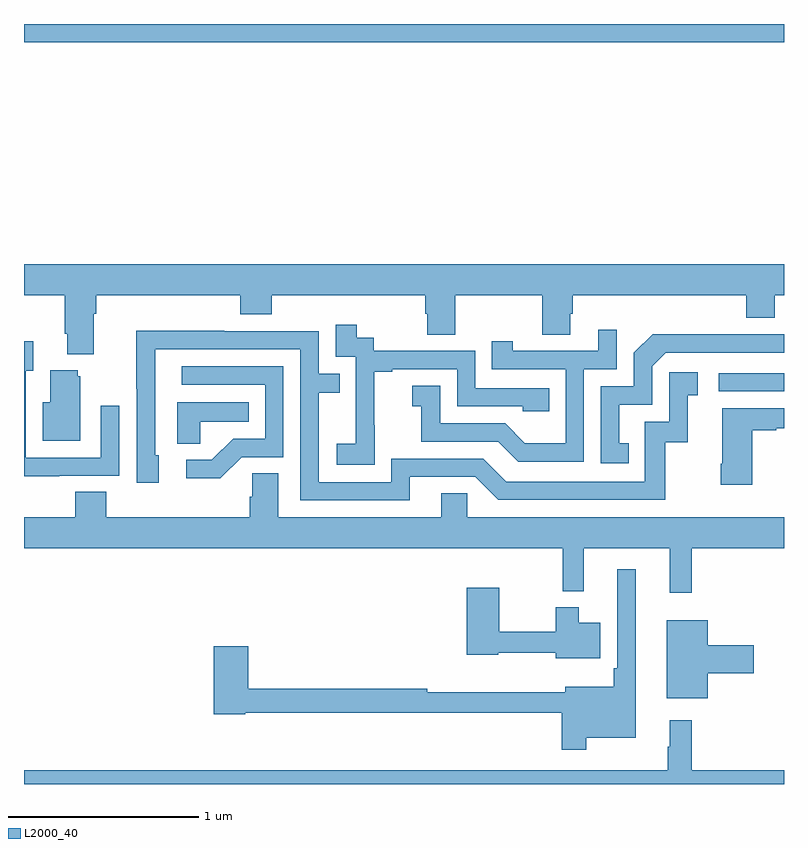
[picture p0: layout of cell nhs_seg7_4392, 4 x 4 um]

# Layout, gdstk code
import gdstk
lib = gdstk.Library(unit=1e-6, precision=1e-09)
def R(c, l, rs):  # rectangles x0, y0, x1, y1
    for r in rs: c.add(gdstk.rectangle(r[:2], r[2:], *l))
def P(c, l, *ps):  # polygons
    for p in ps: c.add(gdstk.Polygon(p, *l))
L2000_40 = (2000, 40)

nhs_seg7_4392 = lib.new_cell('nhs_seg7_4392')
R(nhs_seg7_4392, L2000_40, [(390.657,1044.066,391,1044.162), (387,1045.904,391,1046)])
P(nhs_seg7_4392, L2000_40, [(387.367,1044.476),(387.38,1044.476),(387.38,1044.572),(388.139,1044.572),(388.139,1044.473),(388.304,1044.473),(388.304,1044.572),(389.111,1044.572),(389.111,1044.474),(389.123,1044.474),(389.123,1044.364),(389.271,1044.364),(389.271,1044.572),(389.728,1044.572),(389.728,1044.364),(389.875,1044.364),(389.875,1044.474),(389.888,1044.474),(389.888,1044.572),(390.8,1044.572),(390.8,1044.455),(390.952,1044.455),(390.952,1044.572),(391,1044.572),(391,1044.736),(387,1044.736),(387,1044.572),(387.215,1044.572),(387.215,1044.37),(387.227,1044.37),(387.227,1044.263),(387.367,1044.263)],
  [(388.845,1043.887),(388.844,1043.887),(388.844,1044.171),(388.939,1044.171),(388.939,1044.183),(389.28,1044.183),(389.28,1043.988),(389.625,1043.988),(389.625,1043.961),(389.765,1043.961),(389.765,1044.084),(389.376,1044.084),(389.376,1044.279),(388.842,1044.279),(388.842,1044.348),(388.75,1044.348),(388.75,1044.418),(388.641,1044.418),(388.641,1044.249),(388.746,1044.249),(388.746,1044.02),(388.745,1044.02),(388.745,1043.791),(388.647,1043.791),(388.647,1043.681),(388.845,1043.681)],
  [(389.946,1044.183),(390.12,1044.183),(390.12,1044.391),(390.023,1044.391),(390.023,1044.279),(389.572,1044.279),(389.572,1044.331),(389.461,1044.331),(389.461,1044.183),(389.85,1044.183),(389.85,1043.794),(389.636,1043.794),(389.532,1043.898),(389.19,1043.898),(389.19,1044.097),(389.043,1044.097),(389.043,1043.987),(389.092,1043.987),(389.092,1043.802),(389.495,1043.802),(389.6,1043.697),(389.946,1043.697)],
  [(389.029,1043.616),(389.376,1043.616),(389.496,1043.496),(390.376,1043.496),(390.376,1043.799),(390.494,1043.799),(390.494,1044.045),(390.547,1044.045),(390.547,1044.166),(390.396,1044.166),(390.396,1043.907),(390.267,1043.907),(390.267,1043.592),(389.538,1043.592),(389.418,1043.712),(388.932,1043.712),(388.932,1043.589),(388.551,1043.589),(388.551,1044.058),(388.661,1044.058),(388.661,1044.159),(388.551,1044.159),(388.551,1044.384),(388.055,1044.384),(388.055,1044.386),(387.592,1044.386),(387.592,1044.079),(387.594,1044.079),(387.594,1043.586),(387.709,1043.586),(387.709,1043.73),(387.69,1043.73),(387.69,1044.288),(388.455,1044.288),(388.455,1043.493),(389.029,1043.493)],
  [(390.182,1043.793),(390.133,1043.793),(390.133,1043.997),(390.306,1043.997),(390.306,1044.198),(390.378,1044.27),(391,1044.27),(391,1044.366),(390.716,1044.366),(390.716,1044.368),(390.308,1044.368),(390.21,1044.27),(390.21,1044.093),(390.036,1044.093),(390.036,1043.688),(390.182,1043.688)],
  [(387.185,1043.622),(387.501,1043.622),(387.501,1043.992),(387.405,1043.992),(387.405,1043.718),(387.009,1043.718),(387.009,1044.175),(387.049,1044.175),(387.049,1044.331),(387,1044.331),(387,1043.621),(387.185,1043.621)],
  [(388.146,1043.721),(388.365,1043.721),(388.365,1044.198),(387.831,1044.198),(387.831,1044.102),(388.269,1044.102),(388.269,1043.817),(388.1,1043.817),(387.989,1043.706),(387.855,1043.706),(387.855,1043.609),(388.033,1043.609)],
  [(387.295,1044.147),(387.284,1044.147),(387.284,1044.178),(387.137,1044.178),(387.137,1044.01),(387.098,1044.01),(387.098,1043.807),(387.295,1043.807)],
  [(387.927,1043.906),(388.184,1043.906),(388.184,1044.01),(387.806,1044.01),(387.806,1043.791),(387.927,1043.791)],
  [(390.832,1043.863),(390.959,1043.863),(390.959,1043.873),(391,1043.873),(391,1043.977),(390.674,1043.977),(390.674,1043.686),(390.667,1043.686),(390.667,1043.574),(390.832,1043.574)],
  [(389.835,1043.015),(389.945,1043.015),(389.945,1043.24),(390.398,1043.24),(390.398,1043.007),(390.515,1043.007),(390.515,1043.24),(391,1043.24),(391,1043.404),(389.334,1043.404),(389.334,1043.531),(389.195,1043.531),(389.195,1043.404),(388.339,1043.404),(388.339,1043.636),(388.2,1043.636),(388.2,1043.513),(388.187,1043.513),(388.187,1043.404),(387.434,1043.404),(387.434,1043.537),(387.269,1043.537),(387.269,1043.404),(387,1043.404),(387,1043.24),(389.835,1043.24)],
  [(389.959,1042.244),(390.22,1042.244),(390.22,1043.131),(390.123,1043.131),(390.123,1042.609),(390.103,1042.609),(390.103,1042.513),(389.849,1042.513),(389.849,1042.484),(389.123,1042.484),(389.123,1042.502),(388.181,1042.502),(388.181,1042.726),(387.998,1042.726),(387.998,1042.366),(388.164,1042.366),(388.164,1042.374),(389.83,1042.374),(389.83,1042.179),(389.959,1042.179)],
  [(390.034,1042.849),(389.92,1042.849),(389.92,1042.93),(389.798,1042.93),(389.798,1042.801),(389.5,1042.801),(389.5,1043.032),(389.33,1043.032),(389.33,1042.679),(389.496,1042.679),(389.496,1042.691),(389.798,1042.691),(389.798,1042.661),(390.034,1042.661)],
  [(390.598,1042.583),(390.841,1042.583),(390.841,1042.73),(390.598,1042.73),(390.598,1042.861),(390.383,1042.861),(390.383,1042.451),(390.598,1042.451)],
  [(391,1042.072),(390.515,1042.072),(390.515,1042.336),(390.398,1042.336),(390.398,1042.196),(390.387,1042.196),(390.387,1042.072),(387,1042.072),(387,1042),(391,1042)])

lib.write_gds('nhs_seg7_4392.gds')
